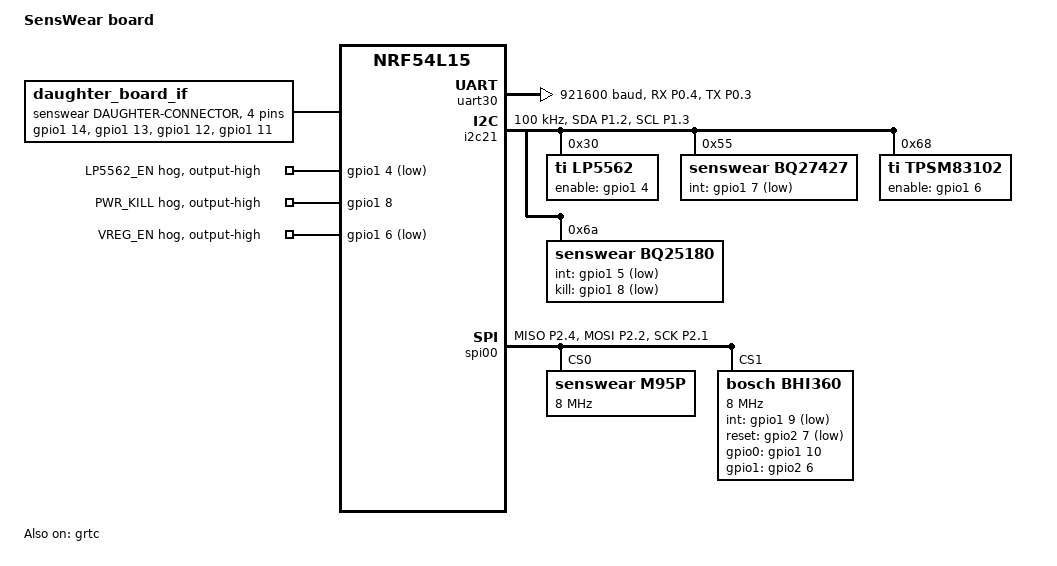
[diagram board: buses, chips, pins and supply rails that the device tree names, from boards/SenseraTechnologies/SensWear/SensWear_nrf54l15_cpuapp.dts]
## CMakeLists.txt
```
# SPDX-License-Identifier: Apache-2.0

cmake_minimum_required(VERSION 3.20.0)

list(APPEND BOARD_ROOT ${CMAKE_CURRENT_SOURCE_DIR})
list(APPEND SHIELD_ROOT ${CMAKE_CURRENT_SOURCE_DIR})
list(APPEND EXTRA_ZEPHYR_MODULES
    ${CMAKE_CURRENT_SOURCE_DIR}/config/cmake/zephyr_module)
# Board-specific devicetree bindings live under the board directory
# (boards/.../SensWear/dts/bindings), keeping them co-located with the board
# and its out-of-tree drivers.
list(APPEND DTS_ROOT ${CMAKE_CURRENT_SOURCE_DIR}/boards/SenseraTechnologies/SensWear)
# The senswear_haptic shield ships its own DRV2605 driver and binding
# (senswear,drv2605); register the shield as a DTS root so its bindings under
# dts/bindings are discovered. Only do so when the shield is actually selected.
# DTS_ROOT must be set before find_package(Zephyr), so this keys off the SHIELD
# input variable (set on the command line / preset / environment) rather than
# CONFIG_SHIELD_SENSWEAR_HAPTIC, which is not known until Kconfig has run.
if("${SHIELD}" MATCHES "senswear_haptic" OR "$ENV{SHIELD}" MATCHES "senswear_haptic")
    list(APPEND DTS_ROOT ${CMAKE_CURRENT_SOURCE_DIR}/boards/shields/senswear_haptic)
endif()

# Emit compile_commands.json for clangd. Set before find_package(Zephyr): the
# variable initialises each target's EXPORT_COMPILE_COMMANDS property at creation
# time, so it must be in effect before Zephyr defines its library targets, or
# most entries would be excluded. Sysbuild does not forward CMAKE_* variables to
# images, so enabling it here in the application's own CMake (rather than at the
# sysbuild top level) is what makes it take effect for this image.
set(CMAKE_EXPORT_COMPILE_COMMANDS ON)

find_package(Zephyr REQUIRED HINTS $ENV{ZEPHYR_BASE})
project(firmware)

# Keep a stable compile_commands.json at the project root for clangd (.clangd
# points there). Every configuration builds in its own tree -- the application
# in build/, each driver test in build/tests/<name>/ -- and CMake writes that
# tree's database to ${CMAKE_BINARY_DIR}/compile_commands.json. We symlink the
# project-root entry to whichever image just configured, so clangd always reads
# the active build's commands (e.g. a test build includes its main_test_*.c that
# the application build omits). Only the main app image does this; sibling
# sysbuild images (mcuboot, ...) leave the link alone.
if(CMAKE_EXPORT_COMPILE_COMMANDS AND (NOT SYSBUILD OR SYSBUILD_MAIN_APP))
    file(CREATE_LINK
        ${CMAKE_BINARY_DIR}/compile_commands.json
        ${CMAKE_SOURCE_DIR}/compile_commands.json
        RESULT _compile_commands_link_result
        SYMBOLIC)
    if(NOT _compile_commands_link_result STREQUAL "0")
        add_custom_target(senswear_compile_commands ALL
            COMMAND ${CMAKE_COMMAND} -E copy_if_different
                ${CMAKE_BINARY_DIR}/compile_commands.json
                ${CMAKE_SOURCE_DIR}/compile_commands.json
            COMMENT "Updating project-root compile_commands.json"
            VERBATIM)
    endif()
endif()

set(BOARD_FLASH_RUNNER pyocd)

# Each device driver is collected into the board_drivers interface library only
# when its CONFIG_SENSWEAR_<driver>_DRIVER Kconfig symbol is set (all enabled by
# default; see Kconfig). Driving driver presence purely from Kconfig means a
# single source of truth that also propagates through sysbuild / CMake presets,
# so no CMake-side option or consistency check is needed here -- the per-type
# cmakes under boards/.../drivers gate directly on the CONFIG_ symbols.

# Driver bring-up tests (tests/drivers). All off by default. The selection is
# driven through Kconfig (CONFIG_SENSWEAR_TEST_<driver>_DRIVER) rather than CMake
# options: under sysbuild only Kconfig symbols are forwarded from the top-level
# build (and thus from a CMake preset) down to this image, so a CMake option here
# would never receive the override. Enabling any individual test implies
# TEST_DRIVERS; when TEST_DRIVERS is on the selected test main() replaces the
# application main (src/main.c). The CONFIG_ symbols are available as CMake
# variables because find_package(Zephyr) above has already run Kconfig.
set(TEST_DRIVERS OFF)
set(_enabled_bringup_tests "")
foreach(_t BQ25180 BQ27427 BHI360 LP5562 M95P TPSM83102 RTC)
    if(CONFIG_SENSWEAR_TEST_${_t}_DRIVER)
        set(TEST_DRIVERS ON)
    endif()
endforeach()
# The device manager test is a driver-style test but has no _DRIVER suffix.
if(CONFIG_SENSWEAR_TEST_DEVICE_MANAGER)
    set(TEST_DRIVERS ON)
endif()

# Shield driver bring-up tests (tests/shields). Same Kconfig-driven selection as
# the board-driver tests above; these exercise drivers shipped by a shield, so
# the matching shield must also be enabled (e.g. SHIELD=senswear_haptic).
set(TEST_SHIELDS OFF)
foreach(_t DRV2605 MAX30101 MAX30208 MTCH6102)
    if(CONFIG_SENSWEAR_TEST_${_t}_DRIVER)
        set(TEST_SHIELDS ON)
    endif()
endforeach()

# Vendored third-party libraries (BHY2 sensor API, ...) collected into the
# `libs` INTERFACE library. Linked always: board_drivers' bhi360.c uses BHY2.
include(${CMAKE_CURRENT_SOURCE_DIR}/libs/libs.cmake)

# Board-level driver subsystem: aggregates the shared `common_drivers`, the
# base-board `board_drivers`, and the selected `shield_drivers` INTERFACE
# libraries (see boards/drivers.cmake).
include(${CMAKE_CURRENT_SOURCE_DIR}/boards/drivers.cmake)

# Count the enabled SensWear shields (one per daughter board). The CONFIG_
# symbols are readable here as CMake variables because find_package(Zephyr) has
# already run Kconfig. The total is handed to the application as the
# SENSWEAR_NUM_SHIELDS compile definition.
set(SENSWEAR_SHIELDS SENSWEAR_HAPTIC SENSWEAR_PPG SENSWEAR_TEMPERATURE SENSWEAR_TOUCH)
set(_shield_count 0)
foreach(_s ${SENSWEAR_SHIELDS})
    if(CONFIG_SHIELD_${_s})
        math(EXPR _shield_count "${_shield_count} + 1")
    endif()
endforeach()

# Count, straight from devicetree, how many enabled devices depend on the shared
# daughter-connector regulator (TPSM83102 / VDD_DAUGHTER). Each daughter device
# declares `vin-supply = <&tpsm83102>` in its shield overlay. Zephyr's CMake
# devicetree API cannot enumerate a node's children, so instead of walking the
# daughter I2C bus we check each known daughter device by its node label and tally
# the okay ones whose vin-supply resolves to the regulator node. The connector
# exposes a single regulated rail, so more than one is a hard error. The dt_*
# helpers read the parsed devicetree, available now that find_package(Zephyr) has
# run. dt_prop() leaves its output variable empty when the property is absent.
set(SENSWEAR_DAUGHTER_DEVICES drv2605 max30101 max30208 mtch6102)
dt_nodelabel(_reg_path NODELABEL tpsm83102)
set(_regulator_dep_count 0)
if(_reg_path)
    foreach(_label ${SENSWEAR_DAUGHTER_DEVICES})
        dt_nodelabel(_dev_path NODELABEL ${_label})
        if(NOT _dev_path)
            continue()
        endif()
        dt_node_has_status(_ok PATH "${_dev_path}" STATUS okay)
        if(NOT _ok)
            continue()
        endif()
        dt_prop(_supply PATH "${_dev_path}" PROPERTY "vin-supply")
        if(_supply STREQUAL "${_reg_path}")
            math(EXPR _regulator_dep_count "${_regulator_dep_count} + 1")
        endif()
    endforeach()
endif()

if(_regulator_dep_count GREATER 1)
    message(FATAL_ERROR
        "${_regulator_dep_count} enabled devices depend on the shared "
        "daughter-connector regulator (TPSM83102 / VDD_DAUGHTER), but the "
        "connector provides a single regulated rail. Enable at most one "
        "regulator-dependent daughter shield.")
endif()

# At most one regulator-dependent daughter device: publish the active shield
# count to the application.
target_compile_definitions(app PRIVATE SENSWEAR_NUM_SHIELDS=${_shield_count})

target_link_libraries(app PRIVATE common_drivers board_drivers shield_drivers libs)

if(TEST_DRIVERS AND TEST_SHIELDS)
    message(FATAL_ERROR
        "A board-driver test and a shield test are both enabled; each defines "
        "main(). Enable exactly one SENSWEAR_TEST_<driver>_DRIVER.")
endif()

if(TEST_DRIVERS OR TEST_SHIELDS)
    # A bring-up test replaces the application: the test provides main() and links
    # against the board/shield drivers. The application sources
    # (src/app.cmake -> app_src) are not built at all.
    if(TEST_DRIVERS)
        include(${CMAKE_CURRENT_SOURCE_DIR}/tests/drivers/tests.cmake)
        include(${CMAKE_CURRENT_SOURCE_DIR}/tests/device_manager/tests.cmake)
    endif()
    if(TEST_SHIELDS)
        include(${CMAKE_CURRENT_SOURCE_DIR}/tests/shields/tests.cmake)
    endif()
else()
    # Normal build: application sources / includes (app_src INTERFACE library).
    # The Bluetooth GATT services (ble_services) are managed by app.cmake.
    include(${CMAKE_CURRENT_SOURCE_DIR}/src/app.cmake)
    target_link_libraries(app PRIVATE app_src)
endif()

if(TEST_DRIVERS)
    list(LENGTH _enabled_bringup_tests _enabled_driver_test_count)
    if(_enabled_driver_test_count EQUAL 0)
        message(FATAL_ERROR
            "TEST_DRIVERS is ON but no SENSWEAR_TEST_<driver>_DRIVER is enabled. "
            "Enable exactly one, e.g. CONFIG_SENSWEAR_TEST_M95P_DRIVER=y.")
    elseif(_enabled_driver_test_count GREATER 1)
        message(FATAL_ERROR
            "Multiple driver tests enabled (${_enabled_bringup_tests}); each defines "
            "main(). Enable exactly one SENSWEAR_TEST_<driver>_DRIVER.")
    endif()
endif()
```

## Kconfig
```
menu "SensWear firmware"

choice SENSWEAR_DAUGHTER_BOARD
	prompt "SensWear daughter board"
	default SENSWEAR_DAUGHTER_TOUCH if SHIELD_SENSWEAR_TOUCH
	default SENSWEAR_DAUGHTER_PPG if SHIELD_SENSWEAR_PPG
	default SENSWEAR_DAUGHTER_TEMPERATURE if SHIELD_SENSWEAR_TEMPERATURE
	default SENSWEAR_DAUGHTER_HAPTIC if SHIELD_SENSWEAR_HAPTIC
	default SENSWEAR_DAUGHTER_NONE

config SENSWEAR_DAUGHTER_NONE
	bool "No daughter board"

config SENSWEAR_DAUGHTER_TOUCH
	bool "Touch daughter board"

config SENSWEAR_DAUGHTER_PPG
	bool "PPG daughter board"

config SENSWEAR_DAUGHTER_TEMPERATURE
	bool "Temperature daughter board"

config SENSWEAR_DAUGHTER_HAPTIC
	bool "Haptic daughter board"

endchoice

choice SENSWEAR_TOUCH_ENCLOSURE
	prompt "Touch electrode enclosure"
	depends on SHIELD_SENSWEAR_TOUCH
	default SENSWEAR_TOUCH_RING_ENCLOSURE
	help
	  Select the build-time touch thresholds for the assembled touch board.
	  The controller and host slider decoder use the same selected thresholds.
	  Acquisition timing, filtering and gesture settings are unchanged.

config SENSWEAR_TOUCH_RING_ENCLOSURE
	bool "With ring enclosure (X=16, Y=6)"
	help
	  Use the more sensitive thresholds measured with the 1-2 mm resin ring.

config SENSWEAR_TOUCH_NO_ENCLOSURE
	bool "Without enclosure (X=55, Y=40)"
	help
	  Use the original bare-board thresholds for directly exposed electrodes.

endchoice

config SENSWEAR_DAUGHTER_PRESENT
	bool
	default y if SENSWEAR_DAUGHTER_TOUCH
	default y if SENSWEAR_DAUGHTER_PPG
	default y if SENSWEAR_DAUGHTER_TEMPERATURE
	default y if SENSWEAR_DAUGHTER_HAPTIC

config SENSWEAR_SYS_I2C
	bool "SensWear shared system I2C bus wrapper"
	depends on I2C
	depends on DT_HAS_SENSWEAR_SYS_I2C_ENABLED
	default y
	help
	  Ownership-locking wrapper driver over a Nordic I2C controller. Devices
	  depend on it via a `bus = <&sys_i2c>` phandle and use the sys_i2c_* API.

config SENSWEAR_SYS_I2C_INIT_PRIORITY
	int "sys_i2c init priority"
	depends on SENSWEAR_SYS_I2C
	default 60
	help
	  POST_KERNEL init priority for the sys_i2c wrapper. Must be greater than
	  I2C_INIT_PRIORITY so the wrapped controller is initialised first.

config SENSWEAR_SYS_SPI
	bool "SensWear shared system SPI bus wrapper"
	depends on SPI
	depends on DT_HAS_SENSWEAR_SYS_SPI_ENABLED
	default y
	help
	  Ownership-locking wrapper driver over a Nordic SPI controller. Devices
	  depend on it via a `bus = <&sys_spi>` phandle and use the sys_spi_* API.

config SENSWEAR_SYS_SPI_INIT_PRIORITY
	int "sys_spi init priority"
	depends on SENSWEAR_SYS_SPI
	default 80
	help
	  POST_KERNEL init priority for the sys_spi wrapper. Must be greater than
	  SPI_INIT_PRIORITY so the wrapped controller is initialised first.

config SENSWEAR_M95P_DISK
	bool "Expose the M95P EEPROM as a disk-access block device"
	depends on SENSWEAR_M95P_DRIVER
	depends on DISK_ACCESS
	help
	  Registers the M95P EEPROM with the Zephyr disk-access subsystem under
	  the name "eeprom" so a filesystem (LittleFS over a block device) can
	  be mounted on it. One 512-byte logical sector maps to one M95P page.

config SENSWEAR_M95P_DISK_AUTOMOUNT
	bool "Mount the M95P LittleFS filesystem at boot"
	depends on SENSWEAR_M95P_DISK
	depends on FILE_SYSTEM_LITTLEFS && FS_LITTLEFS_BLK_DEV
	help
	  Automatically mount the LittleFS filesystem on the M95P during system
	  init. When disabled, call m95p_fs_mount() explicitly from application
	  code.

# Board driver presence. Each symbol is the single source of truth for whether
# its driver is compiled: the per-type cmakes under boards/.../drivers gate their
# sources directly on these CONFIG_ symbols.

config SENSWEAR_BQ25180_DRIVER
	bool "BQ25180 charger driver"
	depends on SENSWEAR_SYS_I2C
	default y
	select SENSWEAR_DEVICE_DRIVER_EVENTS
	help
	  Build the BQ25180 charger / power-path controller driver. The driver
	  posts interrupt activity through the device driver event manager, so it
	  is enabled automatically.

config SENSWEAR_BQ27427_DRIVER
	bool "BQ27427 fuel-gauge driver"
	depends on SENSWEAR_SYS_I2C
	default y
	select SENSWEAR_DEVICE_DRIVER_EVENTS
	help
	  Build the BQ27427 fuel-gauge driver. The driver posts interrupt activity
	  through the device driver event manager, so it is enabled automatically.

config SENSWEAR_BHI360_DRIVER
	bool "BHI360 IMU driver"
	depends on SPI
	default y
	help
	  Build the BHI360 IMU driver.

config SENSWEAR_LP5562_DRIVER
	bool "LP5562 LED controller driver"
	depends on SENSWEAR_SYS_I2C
	default y
	help
	  Build the LP5562 LED controller driver.

config SENSWEAR_M95P_DRIVER
	bool "M95P EEPROM driver"
	depends on SPI
	default y
	help
	  Build the M95P serial-page EEPROM driver.

config SENSWEAR_TPSM83102_DRIVER
	bool "TPSM83102 regulator driver"
	depends on SENSWEAR_SYS_I2C
	default y
	help
	  Build the TPSM83102 buck regulator driver.

config SENSWEAR_RTC_DRIVER
	bool "Software real-time clock"
	default y
	select SENSWEAR_DEVICE_DRIVER_EVENTS
	help
	  Build the SensWear software RTC. The nRF54L15 has no battery-backed
	  calendar RTC, so this driver maintains wall-clock time on the GRTC-backed
	  system clock (the SYS_CLOCK_REALTIME / POSIX time() base), persists it to
	  Settings/NVS, and exposes minute/hour/day and one-shot alarms through the
	  device-event manager.

if SENSWEAR_RTC_DRIVER

config SENSWEAR_RTC_AUTO_INIT
	bool "Seed the wall clock at system startup"
	default y
	help
	  Run rtc_init() from a SYS_INIT hook at APPLICATION priority so the wall
	  clock (and POSIX time()) is restored from Settings before application
	  code runs. Disable to call rtc_init() manually.

config SENSWEAR_RTC_INIT_PRIORITY
	int "rtc auto-init priority"
	depends on SENSWEAR_RTC_AUTO_INIT
	default 90
	help
	  APPLICATION-phase SYS_INIT priority for the RTC. Must run after the flash
	  and Settings backends are initialised.

endif # SENSWEAR_RTC_DRIVER

config SENSWEAR_DAUGHTER_IF_DRIVER
	bool "Daughter-board connector GPIO arbiter"
	depends on GPIO
	default y
	help
	  Build the daughter-board interface driver. It aggregates the connector's
	  shared GPIO lines and arbitrates, at runtime, which consumer driver may
	  control each line so two drivers cannot fight over the same pin.

config SENSWEAR_DEVICE_DRIVER_EVENTS
	bool "SensWear device driver event manager"
	help
	  Enable the centralized device driver event manager. This provides a
	  shared message queue for device interrupt handlers to post events that
	  are consumed by a single event-processing thread, keeping device handling
	  in one place and on one stack.

if SENSWEAR_DEVICE_DRIVER_EVENTS

config SENSWEAR_DEVICE_DRIVER_EVENTS_MAX
	int "Maximum number of queued device driver events"
	default 16
	range 1 128
	help
	  Maximum number of events that can be queued in the device driver event
	  manager at any given time. Each queued event consumes memory proportional
	  to the size of struct device_driver_event_t (currently 16 bytes).

config SENSWEAR_DEVICE_DRIVER_EVENTS_AUTO_INIT
	bool "Automatically initialize device driver events at system startup"
	default y
	help
	  If enabled, the device driver event manager will be automatically
	  initialized at POST_KERNEL initialization priority with
	  CONFIG_SENSWEAR_DEVICE_DRIVER_EVENTS_MAX events. If disabled, the
	  application must call device_driver_event_init() manually before posting
	  or waiting for events.

endif # SENSWEAR_DEVICE_DRIVER_EVENTS

config SENSWEAR_DEVICE_MANAGER
	bool "SensWear device manager (zbus message streams)"
	select ZBUS
	select ZBUS_RUNTIME_OBSERVERS
	select SENSWEAR_DEVICE_DRIVER_EVENTS
	help
	  Enable the device manager: a single publisher that drains the shared
	  device event queue, drives each device's interrupt handler, and publishes
	  decoded per-message-type streams over zbus for application actors (the BLE
	  manager, storage, app logic, ...) to subscribe to. Leave this disabled for
	  isolated device or shield bring-up tests, which replace the application and
	  do not need the manager.

# Driver bring-up tests (tests/drivers). All off by default. Enabling exactly
# one replaces the application main() with the selected test main(); see
# tests/drivers/tests.cmake. These are Kconfig symbols (not CMake options) so
# the selection propagates from the sysbuild top-level build / a CMake preset
# down into this image.

config SENSWEAR_TEST_BQ25180_DRIVER
	bool "Build the BQ25180 charger bring-up test"
	help
	  Replace the application with the BQ25180 charger driver bring-up test.

config SENSWEAR_TEST_BQ27427_DRIVER
	bool "Build the BQ27427 fuel-gauge bring-up test"
	help
	  Replace the application with the BQ27427 fuel-gauge driver bring-up test.

config SENSWEAR_TEST_BHI360_DRIVER
	bool "Build the BHI360 IMU bring-up test"
	help
	  Replace the application with the BHI360 IMU driver bring-up test.

config SENSWEAR_TEST_LP5562_DRIVER
	bool "Build the LP5562 LED controller bring-up test"
	help
	  Replace the application with the LP5562 LED controller bring-up test.

config SENSWEAR_TEST_M95P_DRIVER
	bool "Build the M95P EEPROM bring-up test"
	help
	  Replace the application with the M95P EEPROM driver bring-up test.

config SENSWEAR_TEST_RTC_DRIVER
	bool "Build the software RTC bring-up test"
	depends on SENSWEAR_RTC_DRIVER
	help
	  Replace the application with the software RTC driver bring-up test
	  (tests/drivers/main_test_rtc.c). Sets a known time, reads it back through
	  both the rtc API and POSIX time(), and exercises the minute and one-shot
	  alarms.

config SENSWEAR_TEST_TPSM83102_DRIVER
	bool "Build the TPSM83102 regulator bring-up test"
	help
	  Replace the application with the TPSM83102 regulator driver bring-up test.

config SENSWEAR_TEST_DEVICE_MANAGER
	bool "Build the device manager test"
	select SENSWEAR_DEVICE_MANAGER
	help
	  Replace the application with the device manager test
	  (tests/device_manager/main_test_device_manager.c). Enables the device manager and
	  its zbus streams, subscribes to every stream, and drives the fuel gauge (and
	  the haptic motor when the senswear_haptic shield is present) to exercise the
	  publish pipeline.

config SENSWEAR_TEST_DRV2605_DRIVER
	bool "Build the DRV2605 haptics bring-up test"
	depends on SENSWEAR_DRV2605_DRIVER
	help
	  Replace the application with the DRV2605 haptics driver bring-up test
	  (tests/shields/main_test_drv2605.c). Requires the senswear_haptic shield
	  (build with SHIELD=senswear_haptic) so the driver and its devicetree node
	  are present.

config SENSWEAR_TEST_MAX30101_DRIVER
	bool "Build the MAX30101 PPG bring-up test"
	depends on SHIELD_SENSWEAR_PPG
	help
	  Replace the application with the MAX30101 PPG driver bring-up test
	  (tests/shields/main_test_max30101.c). Requires the senswear_ppg shield
	  (build with SHIELD=senswear_ppg) so the driver and its devicetree node
	  are present.

config SENSWEAR_TEST_MAX30208_DRIVER
	bool "Build the MAX30208 temperature bring-up test"
	depends on SHIELD_SENSWEAR_TEMPERATURE
	help
	  Replace the application with the MAX30208 temperature driver bring-up test
	  (tests/shields/main_test_max30208.c). Requires the senswear_temperature
	  shield (build with SHIELD=senswear_temperature) so the driver and its
	  devicetree node are present.

config SENSWEAR_TEST_MTCH6102_DRIVER
	bool "Build the MTCH6102 touch bring-up test"
	depends on SHIELD_SENSWEAR_TOUCH
	help
	  Replace the application with the MTCH6102 touch driver bring-up test
	  (tests/shields/main_test_mtch6102.c). Requires the senswear_touch shield
	  (build with SHIELD=senswear_touch) so the driver and its devicetree node
	  are present.

endmenu

source "Kconfig.zephyr"
```

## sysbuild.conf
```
# Disable the (deprecated) Nordic Partition Manager. With it off, sysbuild uses
# the DTS `fixed-partitions` layout defined in the board devicetree as the
# authoritative flash map. See boards/.../SensWear_nrf54l15_cpuapp.dts.
SB_CONFIG_PARTITION_MANAGER=n
```

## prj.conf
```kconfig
# Button and LED library
CONFIG_DK_LIBRARY=n

CONFIG_LED=y
CONFIG_GPIO=y
CONFIG_GPIO_HOGS=y
CONFIG_I2C=y
CONFIG_SENSOR=y

CONFIG_SPI=y

#LOGGING
CONFIG_LOG=y
CONFIG_LOG_DEFAULT_LEVEL=3
CONFIG_DEBUG=y
CONFIG_CBPRINTF_FP_SUPPORT=y
CONFIG_SERIAL=y
CONFIG_CONSOLE=y
CONFIG_UART_CONSOLE=y
CONFIG_LOG_MODE_IMMEDIATE=y
CONFIG_LOG_BACKEND_UART=y
CONFIG_UART_ASYNC_API=y
# CONFIG_LOG_BACKEND_UART_ASYNC=n
# CONFIG_LOG_BACKEND_UART_BUFFER_SIZE=256
# CONFIG_LOG_BACKEND_UART_AUTOSTART=y
CONFIG_PRINTK=y
CONFIG_USE_SEGGER_RTT=n
CONFIG_LOG_BACKEND_RTT=n
CONFIG_SHELL=y
CONFIG_I2C_SHELL=y

# Enable floating point
CONFIG_FPU=y
CONFIG_FP_HARDABI=y

# Enable pin control
CONFIG_PINCTRL=y

CONFIG_REGULATOR=y

CONFIG_GPIO_NRFX=y
# Added from the code block
# CONFIG_GPIO_NRFX=y
# CONFIG_NRFX_CLOCK=y

# Enable nrfx SPIM driver
# CONFIG_NRFX_SPIM=y

#BLE
CONFIG_BT=y
CONFIG_BT_PERIPHERAL=y
CONFIG_BT_DEVICE_NAME="Sens Wear (OOB)"
CONFIG_BT_SMP=y
CONFIG_BT_BONDABLE=y
CONFIG_BT_SETTINGS=y
CONFIG_SETTINGS=y
CONFIG_SETTINGS_NVS=y
CONFIG_FLASH=y
CONFIG_FLASH_MAP=y
CONFIG_NVS=y

# M95P EEPROM filesystem (LittleFS over a disk-access block device)
CONFIG_FILE_SYSTEM=y
CONFIG_FILE_SYSTEM_LITTLEFS=y
CONFIG_FS_LITTLEFS_BLK_DEV=y
# The block-device backend uses the M95P's 512-byte logical sector as its
# read/program granularity, so each LittleFS cache must hold at least one sector.
CONFIG_FS_LITTLEFS_CACHE_SIZE=512
CONFIG_DISK_ACCESS=y
CONFIG_SENSWEAR_M95P_DISK=y
CONFIG_SENSWEAR_M95P_DISK_AUTOMOUNT=y

# POSIX layer for file operations on the mounted filesystem. POSIX_API provides
# open()/read()/write()/close() (routed to the filesystem via ZVFS) and selects
# the ZVFS file-descriptor table they use. CONFIG_ZVFS_OPEN_MAX bounds the number
# of simultaneously open descriptors.
CONFIG_POSIX_API=y
CONFIG_ZVFS_OPEN_MAX=8

# Increase stack size for the main thread and System Workqueue
CONFIG_BT_HCI_TX_STACK_SIZE_WITH_PROMPT=y
CONFIG_THREAD_NAME=y
CONFIG_SYSTEM_WORKQUEUE_STACK_SIZE=4096
CONFIG_MAIN_STACK_SIZE=4096
CONFIG_BT_RX_STACK_SIZE=4096

CONFIG_HEAP_MEM_POOL_SIZE=4096
CONFIG_BT_L2CAP_TX_MTU=512
CONFIG_BT_BUF_ACL_RX_SIZE=516
CONFIG_BT_BUF_ACL_TX_SIZE=516

CONFIG_BT_USER_DATA_LEN_UPDATE=y
CONFIG_BT_CTLR_DATA_LENGTH_MAX=251

# Device manager: drains the shared device event queue and publishes decoded
# per-message-type streams over zbus. The Bluetooth GATT services
# (src/bluetooth/services) subscribe to these streams, so the application
# image requires it (selects ZBUS and SENSWEAR_DEVICE_DRIVER_EVENTS).
CONFIG_SENSWEAR_DEVICE_MANAGER=y

CONFIG_SENSWEAR_TOUCH_NO_ENCLOSURE=y
```

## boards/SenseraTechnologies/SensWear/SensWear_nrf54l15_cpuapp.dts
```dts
/dts-v1/;
#include <nordic/nrf54l15_cpuapp.dtsi>
#include "SensWear-pinctrl.dtsi"
/*
 * Flash partitioning is defined directly in DTS below (see &cpuapp_rram) rather
 * than pulling in the vendor MCUboot partition layout
 * (vendor/nordic/nrf54l15_cpuapp_partition.dtsi). This board runs without a
 * bootloader, so the application owns flash from 0x0. Partition Manager is also
 * disabled (sysbuild.conf) so this layout is authoritative.
 */

/ {
	model = "SensWear board";
	compatible = "SenseraTechnologies,SensWear-cpuapp";

	chosen {
		zephyr,console = &uart30;
		zephyr,shell-uart = &uart30;
		zephyr,code-partition = &slot0_partition;
		zephyr,sram = &cpuapp_sram;
		zephyr,flash = &cpuapp_rram;
		zephyr,flash-controller = &rram_controller;
	};

	/*
	 * Shared system buses: ownership-locking wrappers over the Nordic
	 * controllers. Physical devices remain children of their standard Zephyr
	 * controller nodes; board drivers route transfers through these wrappers.
	 */
	sys_i2c: sys_i2c {
		compatible = "senswear,sys-i2c";
		controller = <&i2c21>;
		status = "okay";
	};

	sys_spi: sys_spi {
		compatible = "senswear,sys-spi";
		controller = <&spi00>;
		status = "okay";
	};

	/*
	 * Software real-time clock. The nRF54L15 has no battery-backed calendar
	 * RTC, so this node owns no hardware; it gives the rtc driver a devicetree
	 * identity and a generated device id for the device-event manager. Wall-
	 * clock timekeeping runs on the GRTC-backed system clock.
	 */
	rtc0: rtc {
		compatible = "senswear,rtc";
		status = "okay";
	};

};

/*
 * Application flash layout (DTS-based, no bootloader). The 1428 KB cpuapp_rram
 * holds the application from 0x0 (slot0_partition is the chosen code-partition,
 * so the reset vector lives at 0x0 and the device boots it directly) and a
 * 36 KB storage_partition at the top for Settings/NVS. The on-device LittleFS
 * is mounted on the external M95P (a block device), so it needs no partition
 * here. Sizes are 4 KB-erase-block aligned and sum to the full 1428 KB.
 */
&cpuapp_rram {
	partitions {
		compatible = "fixed-partitions";
		#address-cells = <1>;
		#size-cells = <1>;

		slot0_partition: partition@0 {
			label = "image-0";
			reg = <0x0 DT_SIZE_K(1392)>;
		};

		storage_partition: partition@15c000 {
			label = "storage";
			reg = <0x15c000 DT_SIZE_K(36)>;
		};
	};
};

&uart30 {
	status = "okay";
	current-speed = <921600>;

	pinctrl-0 = <&uart30_default>;
	pinctrl-1 = <&uart30_sleep>;
	pinctrl-names = "default", "sleep";
};

&grtc {
	owned-channels = <0 1 2 3 4 5 6 7 8 9 10 11>;
	/*
	 * Channels 7-11 reserved for Zero Latency IRQs, 3-4 for FLPR.
	 */
	child-owned-channels = <3 4 7 8 9 10 11>;
	status = "okay";
};

&cpuapp_sram {
	status = "okay";
};

&clock {
	status = "okay";
};

&gpiote20 {
	status = "okay";
};

&gpiote30 {
	status = "okay";
};

&gpio0 {
	status = "okay";
};


&pinctrl {
	uart30_default: uart30_default {
		group1 {
			psels = <NRF_PSEL(UART_RX, 0, 4)>; /* P0.04 */
		};
		group2 {
			psels = <NRF_PSEL(UART_TX, 0, 3)>; /* P0.03 */
		};
	};

	uart30_sleep: uart30_sleep {
		group1 {
			psels = <NRF_PSEL(UART_TX, 0, 3)>,
				<NRF_PSEL(UART_RX, 0, 4)>;
		};
	};

	i2c21_default: i2c21_default {
		group1 {
			psels = <NRF_PSEL(TWIM_SDA, 1, 2)>,
				<NRF_PSEL(TWIM_SCL, 1, 3)>;
			bias-pull-up;
		};
	};

	i2c21_sleep: i2c21_sleep {
		group1 {
			psels = <NRF_PSEL(TWIM_SDA, 1, 2)>,
			<NRF_PSEL(TWIM_SCL, 1, 3)>;
			low-power-enable;
		};
	};

	spi00_default: spi00_default {
		group1 {
			psels = <NRF_PSEL(SPIM_MISO, 2, 4)>,
				<NRF_PSEL(SPIM_MOSI, 2, 2)>,
				<NRF_PSEL(SPIM_SCK, 2, 1)>;
		};
	};

	spi00_sleep: spi00_sleep {
		group1 {
			psels = <NRF_PSEL(SPIM_MISO, 2, 4)>,
				<NRF_PSEL(SPIM_MOSI, 2, 2)>,
				<NRF_PSEL(SPIM_SCK, 2, 1)>;
			low-power-enable;
		};
	};
};

/ {
	/*
	 * Daughter-board connector GPIO mapper.
	 *
	 * This is intentionally not an I2C child node. The daughter boards use
	 * the system I2C bus through their own shield nodes, while this connector
	 * node only maps and names the shared SENSOR_GPIO_0..3 lines.
	 */
	daughter_board_if: daughter-board {
		compatible = "senswear,daughter-connector";
		#gpio-cells = <2>;
		gpio-map-mask = <0xffffffff 0xffffffc0>;
		gpio-map-pass-thru = <0 0x3f>;
		gpio-map = <0 0 &gpio1 14 0>,  /* SENSOR_GPIO_0 (P1.14) */
			   <1 0 &gpio1 13 0>,  /* SENSOR_GPIO_1 (P1.13) */
			   <2 0 &gpio1 12 0>,  /* SENSOR_GPIO_2 (P1.12) */
			   <3 0 &gpio1 11 0>;  /* SENSOR_GPIO_3 (P1.11) */
		gpio-line-names = "SENSOR_GPIO_0", "SENSOR_GPIO_1",
				  "SENSOR_GPIO_2", "SENSOR_GPIO_3";
		/*
		 * The connector's GPIO lines, in line order, aggregated by the
		 * daughter_if driver which arbitrates their ownership. Resolved
		 * through this node's own gpio-map to the physical controller.
		 */
		sensor-gpios = <&daughter_board_if 0 GPIO_ACTIVE_HIGH>,
			       <&daughter_board_if 1 GPIO_ACTIVE_HIGH>,
			       <&daughter_board_if 2 GPIO_ACTIVE_HIGH>,
			       <&daughter_board_if 3 GPIO_ACTIVE_HIGH>;
		status = "okay";
	};
};

sys_i2c_peripheral: &i2c21 {
	status = "okay";
	compatible = "nordic,nrf-twim";
	clock-frequency = <I2C_BITRATE_STANDARD>;
	pinctrl-0 = <&i2c21_default>;
	pinctrl-1 = <&i2c21_sleep>;
	pinctrl-names = "default", "sleep";

	/*
	 * LP5562 RGB LED driver.
	 */
	lp5562: lp5562@30 {
		compatible = "ti,lp5562";
		reg = <0x30>;
		enable-gpios = <&gpio1 4 GPIO_ACTIVE_HIGH>; /* P1.04 LED_EN */
		status = "okay";
	};

	/*
	 * BQ27427 fuel gauge.
	 */
	bq27427: fuel-gauge@55 {
		compatible = "senswear,bq27427";
		reg = <0x55>;
		int-gpios = <&gpio1 7 GPIO_ACTIVE_LOW>; /* P1.07 GAUGE_IRQ */
		status = "okay";
	};

	/*
	 * TPSM83102 buck regulator generating VDD_DAUGHTER.
	 */
	tpsm83102: regulator@68 {
		compatible = "ti,tpsm83102";
		reg = <0x68>;
		enable-gpios = <&gpio1 6 GPIO_ACTIVE_HIGH>; /* P1.06 V_REG_EN */
		regulator-name = "VDD_DAUGHTER";
		regulator-min-microvolt = <1000000>;
		regulator-max-microvolt = <5500000>;
		status = "okay";
	};

	/*
	 * BQ25180 charger and power-path controller.
	 */
	bq25180: charger@6a {
		compatible = "senswear,bq25180";
		reg = <0x6a>;
		int-gpios = <&gpio1 5 GPIO_ACTIVE_LOW>;   /* P1.05 CHG_IRQ */
		/* P1.08 PWR_KILL shares the BQ25180 TS/MR pin, which has no NTC and is
		 * pulled to V_BAT by R4 (100k). Drive it open-drain so the host only ever
		 * pulls it low to request shutdown and otherwise releases it (high via R4);
		 * a push-pull high would source into the TS/MR node and corrupt the TS
		 * reading / trigger spurious MR-wake events. */
		kill-gpios = <&gpio1 8 (GPIO_ACTIVE_LOW | GPIO_OPEN_DRAIN)>; /* P1.08 PWR_KILL */
		status = "okay";
	};
};

&gpio1 {
	status = "okay";

	/*
	 * Keep LED_EN (P1.04) low from earliest boot.
	 */
	lp5562_en_hog: lp5562_en_hog {
		gpio-hog;
		gpios = <4 GPIO_ACTIVE_LOW>;  /* P1.04 */
		output-high;
		line-name = "LP5562_EN";
	};

	/*
	 * PWR_KILL (P1.08) must be released HIGH from the earliest boot so power is
	 * held on before any driver runs. It shares the BQ25180 TS/MR pin (no NTC,
	 * pulled to V_BAT by R4), so it is driven open-drain: output-high releases the
	 * pin and lets R4 hold it high, rather than actively sourcing into the TS/MR
	 * node (which corrupts the TS reading and triggers spurious MR-wake events).
	 * The hog guarantees this power-on default; the bq25180 node also exposes the
	 * line as kill-gpios so the driver can take it over at runtime (open-drain,
	 * released high) and drop this hog once the driver owns it.
	 */
	bq25180_pwr_kill_hog: bq25180_pwr_kill_hog {
		gpio-hog;
		gpios = <8 (GPIO_ACTIVE_HIGH | GPIO_OPEN_DRAIN)>;
		output-high;
		line-name = "PWR_KILL";
	};

	/*
	 * Keep VREG_EN (P1.06) low from earliest boot.
	 */
	tpsm83102_en_hog: tpsm83102_en_hog {
		gpio-hog;
		gpios = <6 GPIO_ACTIVE_LOW>;
		output-high;
		line-name = "VREG_EN";
	};
};

&gpio2 {
	status = "okay";
};

&uicr {
	nfct-pins-as-gpios;
};

sys_spi_peripheral: &spi00 {
	status = "okay";
	pinctrl-0 = <&spi00_default>;
	pinctrl-1 = <&spi00_sleep>;
	pinctrl-names = "default", "sleep";
	/*
	 * Chip-selects are intentionally not declared here. Each peripheral owns
	 * and drives its own CS GPIO (see its `cs-gpios` property), so the SPI
	 * controller performs no automatic chip-select management.
	 */

	/*
	 * M95P external non-volatile memory.
	 */
	m95p: eeprom@0 {
		compatible = "senswear,m95p";
		reg = <0>;
		spi-max-frequency = <8000000>;
		cs-gpios = <&gpio2 3 GPIO_ACTIVE_LOW>; /* P2.03 M95P_CS# */
		size = <0x400000>;
		address-width = <24>;
		pagesize = <512>;
		timeout = <100>;
		status = "okay";
	};

	/*
	 * BHI360 IMU hub.
	 */
	bhi360: bhi360@1 {
		compatible = "bosch,bhi360";
		reg = <1>;
		spi-max-frequency = <8000000>;
		cs-gpios = <&gpio2 5 GPIO_ACTIVE_LOW>;      /* P2.05 BHI360_CS# */
		int-gpios = <&gpio1 9 GPIO_ACTIVE_LOW>;     /* P1.09 MPU_IRQ# */
		reset-gpios = <&gpio2 7 GPIO_ACTIVE_LOW>;   /* P2.07 MPU_RESET */
		gpio0-gpios = <&gpio1 10 GPIO_ACTIVE_HIGH>; /* P1.10 MPU_GPIO0 */
		gpio1-gpios = <&gpio2 6 GPIO_ACTIVE_HIGH>;  /* P2.06 MPU_GPIO1 */
		status = "okay";
	};
};
```

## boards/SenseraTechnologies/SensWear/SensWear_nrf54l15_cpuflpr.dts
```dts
/dts-v1/;
#include <nordic/nrf54l15_cpuflpr.dtsi>
#include "SensWear-pinctrl.dtsi"

/ {
	model = "SensWear board";
	compatible = "SenseraTechnologies,SensWear-cpuflpr";

	chosen {
		zephyr,code-partition = &cpuflpr_code_partition;
		zephyr,flash = &cpuflpr_rram;
		zephyr,sram = &cpuflpr_sram;
	};
};

&cpuflpr_sram {
	status = "okay";
	reg = <0x20028000 DT_SIZE_K(96)>;
	ranges = <0x0 0x20028000 DT_SIZE_K(96)>;
};

&cpuflpr_rram {
	partitions {
		compatible = "fixed-partitions";
		#address-cells = <1>;
		#size-cells = <1>;

		cpuflpr_code_partition: partition@0 {
			label = "image-0";
			reg = <0x0 DT_SIZE_K(96)>;
		};
	};
};

&grtc {
	owned-channels = <3 4>;
	status = "okay";
};
```

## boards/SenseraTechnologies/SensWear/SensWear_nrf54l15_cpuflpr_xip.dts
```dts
#include "SensWear_nrf54l15_cpuflpr.dts"

/ {
	compatible = "SenseraTechnologies,SensWear-cpuflpr-xip";
};

&cpuflpr_sram {
	reg = <0x2002f000 DT_SIZE_K(68)>;
	ranges = <0x0 0x2002f000 DT_SIZE_K(68)>;
};
```

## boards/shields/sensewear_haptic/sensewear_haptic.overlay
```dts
/*
 * SPDX-License-Identifier: Apache-2.0
 */

/ {
	aliases {
		sensewear-daughter = &drv2605;
		sensewear-haptic = &drv2605;
	};
};

&sys_i2c_peripheral {
	drv2605: drv2605@5a {
		compatible = "sensewear,drv2605";
		reg = <0x5a>;
		/* Enable uses SENSOR_GPIO_0 / P1.14 claimed through daughter_if. */
		status = "okay";
		actuator-mode = "LRA";
		loop-gain = "HIGH";
		feedback-brake-factor = "2X";
		label = "drv2605";
		/* NFP-WS0625 is rated at 3.0 V DC. */
		// vib-rated-mv = <3000>;
		// vib-overdrive-mv = <3000>;
		/* Powered from the shared daughter-connector rail (VDD_DAUGHTER). */
		vin-supply = <&tpsm83102>;
	};
};
```

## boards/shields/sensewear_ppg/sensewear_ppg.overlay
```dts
/*
 * SPDX-License-Identifier: Apache-2.0
 */

/ {
	aliases {
		sensewear-daughter = &max30101;
		sensewear-ppg = &max30101;
	};
};

&sys_i2c_peripheral {
	max30101: max30101@57 {
		compatible = "sensewear,daughter-i2c-device", "i2c-device";
		status = "okay";
		reg = <0x57>;
		label = "MAX30101";
		/* Powered from the shared daughter-connector rail (VDD_DAUGHTER). */
		vin-supply = <&tpsm83102>;
	};
};
```

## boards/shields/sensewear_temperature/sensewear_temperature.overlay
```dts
/*
 * SPDX-License-Identifier: Apache-2.0
 */

/ {
	aliases {
		sensewear-daughter = &max30208;
		sensewear-temperature = &max30208;
	};
};

&sys_i2c_peripheral {
	max30208: max30208@50 {
		/*
		 * Plain i2c-device: the temperature driver neither owns the
		 * daughter rail (VDD_DAUGHTER, managed centrally by the
		 * daughter-board manager) nor a connector interrupt line, so it
		 * carries no vin-supply / gpio dependency in devicetree.
		 */
		compatible = "i2c-device";
		status = "okay";
		reg = <0x50>;
		label = "MAX30208";
	};
};
```

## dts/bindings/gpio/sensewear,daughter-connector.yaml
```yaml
# Copyright (c) 2026
# SPDX-License-Identifier: Apache-2.0

description: SenseWear shared daughter board connector

compatible: "sensewear,daughter-connector"

include: [gpio-nexus.yaml, base.yaml]
```

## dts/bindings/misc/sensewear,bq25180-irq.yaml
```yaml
description: SenseWear BQ25180 interrupt GPIO

compatible: "sensewear,bq25180-irq"

properties:
  interrupt-gpios:
    type: phandle-array
    required: true
```

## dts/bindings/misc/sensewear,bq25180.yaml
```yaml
description: SenseWear BQ25180 charger

compatible: "sensewear,bq25180"

include:
  - name: i2c-device.yaml

properties:
  reg:
    required: true

  interrupt-gpios:
    type: phandle-array
    required: true
    description: Active-low charger interrupt GPIO.
```

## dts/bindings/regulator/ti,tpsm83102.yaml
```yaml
# Copyright (c) 2026
# SPDX-License-Identifier: Apache-2.0

description: |
  Texas Instruments TPSM83102/TPSM83103 buck-boost power module with I2C-programmable output voltage.

  Registers used:
    CONTROL1 (0x02): CONVERTER_EN bit0 enables converter (AND'ed with EN pin)
    VOUT     (0x03): output voltage code
    CONTROL2 (0x05): FPWM and ramp/discharge settings

  Output voltage code (VOUT register):
    Vout = 1.000 + code * 0.025 V for 0x00..0xB4
    Vout = 5.5 V for 0xB5..0xFF

compatible: "ti,tpsm83102"

include:
  - name: i2c-device.yaml
  - name: regulator.yaml

properties:
  reg:
    required: true

  enable-gpios:
    type: phandle-array
    required: false
    description: Optional GPIO connected to the module EN pin.

  ti,fpwm:
    type: boolean
    description: |
      Force PWM operation (CONTROL2.FPWM bit7). If not set, default stays as device reset.

  ti,fast-ramp-enable:
    type: boolean
    description: |
      Enable fast startup compared to VOUT ramp (CONTROL2.FAST_RAMP_EN bit6).

  ti,discharge-vout:
    type: string
    required: false
    enum:
      - "disable"
      - "slow"
      - "medium"
      - "fast"
    description: |
      Output discharge strength (CONTROL2.EN_DISCH_VOUT[5:4]):
        disable=00, slow=01 (34mA), medium=10 (67mA), fast=11 (100mA)

  ti,cl-ramp-min-high:
    type: boolean
    description: |
      Minimum current limit during soft-start ramp (CONTROL2.CL_RAMP_MIN bit3).
      false = Low (500mA), true = High (2x Low)

  ti,td-ramp:
    type: int
    required: false
    description: |
      Soft-start ramp time selector (CONTROL2.TD_RAMP[2:0]).
      Valid values 0..7 map to:
        0:0.256ms 1:0.512ms 2:1.024ms 3:1.920ms
        4:3.584ms 5:7.552ms 6:9.600ms 7:24.320ms
    enum: [0, 1, 2, 3, 4, 5, 6, 7]

  ti,enable-scp:
    type: boolean
    description: |
      Enable short circuit hiccup protection (CONTROL1.EN_SCP bit2).

  ti,fast-dvs:
    type: boolean
    description: |
      Enable fast DVS (CONTROL1.EN_FAST_DVS bit3).

  ti,strict-reset-defaults:
    type: boolean
    description: |
      Require CONTROL1, VOUT, and CONTROL2 to match datasheet reset defaults
      during probe. This is intended for lab diagnostics only; production
      firmware should allow existing programmed register state.
```

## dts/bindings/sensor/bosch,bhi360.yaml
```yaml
description: Bosch BHI360 IMU (SPI)

compatible: "bosch,bhi360"

include:
  - name: spi-device.yaml

properties:
  reg:
    required: true

  spi-max-frequency:
    required: true

  int-gpios:
    type: phandle-array
    required: false

  reset-gpios:
    type: phandle-array
    required: false
```

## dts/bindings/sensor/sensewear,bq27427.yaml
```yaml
description: SenseWear BQ27427 fuel gauge

compatible: "sensewear,bq27427"

include:
  - name: i2c-device.yaml

properties:
  reg:
    required: true

  int-gpios:
    type: phandle-array
    required: true
    description: Active-low gauge interrupt GPIO.
```

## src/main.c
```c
/*
 * Copyright (c) 2012-2014 Wind River Systems, Inc.
 *
 * SPDX-License-Identifier: Apache-2.0
 */

#include <stdio.h>
#include <zephyr/kernel.h>
#include <zephyr/drivers/gpio.h>
#include <zephyr/logging/log.h>
#include <zephyr/bluetooth/bluetooth.h>
#include <zephyr/bluetooth/gap.h>
#include <zephyr/settings/settings.h>
#include <zephyr/bluetooth/uuid.h>
#include <zephyr/bluetooth/addr.h>
#include <zephyr/bluetooth/conn.h>

#include "app/led_ble_bridge.h"
#include "app/imu_ble_bridge.h"
#include "app/daughter_board_manager.h"
#include "app/power_ble_bridge.h"
#include "bluetooth/services/imu/imu_lbs.h"
#include "bluetooth/services/led/led_lbs.h"
#include "bluetooth/services/power/power_lbs.h"

#include "m95p.h"
#include "bq25180.h"
#include "bq27427.h"
#include "bhi360.h"

#if IS_ENABLED(CONFIG_SENSEWEAR_DAUGHTER_HAPTIC)
#include "app/haptic_ble_bridge.h"
#include "bluetooth/services/haptic/haptic_lbs.h"
#endif

#if IS_ENABLED(CONFIG_SENSEWEAR_DAUGHTER_PPG)
#include "app/ppg_ble_bridge.h"
#include "bluetooth/services/ppg/ppg_lbs.h"
#endif

#if IS_ENABLED(CONFIG_SENSEWEAR_DAUGHTER_TEMPERATURE)
#include "app/temperature_ble_bridge.h"
#include "bluetooth/services/temperature/temperature_lbs.h"
#endif

#if IS_ENABLED(CONFIG_SENSEWEAR_DAUGHTER_TOUCH)
#include "app/touch_ble_bridge.h"
#include "bluetooth/services/touch/touch_lbs.h"
#endif

static const struct bt_le_adv_param *adv_param = BT_LE_ADV_PARAM(
	(BT_LE_ADV_OPT_CONN |
	 BT_LE_ADV_OPT_USE_IDENTITY), /* Connectable advertising and use identity address */
	800, /* Min Advertising Interval 500ms (800*0.625ms) */
	801, /* Max Advertising Interval 500.625ms (801*0.625ms) */
	NULL); /* Set to NULL for undirected advertising */

LOG_MODULE_REGISTER(SENSE_WEAR_LOGGER);

#define DEVICE_NAME CONFIG_BT_DEVICE_NAME
#define DEVICE_NAME_LEN (sizeof(DEVICE_NAME) - 1)
#define BT_UUID_LBS_VAL BT_UUID_128_ENCODE(0x56966294, 0x9cb8, 0x4c92, 0x9d74, 0x834187f486de)

static void adv_restart_work_fn(struct k_work *work);
K_WORK_DELAYABLE_DEFINE(adv_restart_work, adv_restart_work_fn);

/* 1000 msec = 1 sec */
#define SLEEP_TIME_MS   100

static struct bt_conn *current_conn = NULL;

static const struct bt_data ad[] = {
	BT_DATA_BYTES(BT_DATA_FLAGS, (BT_LE_AD_GENERAL | BT_LE_AD_NO_BREDR)),
	BT_DATA(BT_DATA_NAME_COMPLETE, DEVICE_NAME, DEVICE_NAME_LEN),
};

static const struct bt_data sd[] = {
	BT_DATA_BYTES(BT_DATA_UUID128_ALL, BT_UUID_LBS_VAL),
};

static void adv_restart_work_fn(struct k_work *work)
{
    int err;

    /* If advertising might still be on for any reason, stop it first.
     * Ignore "not advertising" type errors.
     */
    err = bt_le_adv_stop();
    if (err && err != -EALREADY && err != -EINVAL) {
        LOG_WRN("bt_le_adv_stop returned %d", err);
    }

    err = bt_le_adv_start(adv_param, ad, ARRAY_SIZE(ad), sd, ARRAY_SIZE(sd));
    if (err) {
        LOG_ERR("Advertising restart failed (err %d)", err);
    } else {
        LOG_INF("Advertising restarted");
    }
}

void on_connected(struct bt_conn *conn, uint8_t err) {
    if (err) {
        LOG_INF("Connection error %d", err);
        return;
    }
    LOG_INF("Connected");
    current_conn = bt_conn_ref(conn);
	imu_lbs_set_conn(conn);
	led_lbs_set_conn(conn);
	power_lbs_set_conn(conn);
#if IS_ENABLED(CONFIG_SENSEWEAR_DAUGHTER_HAPTIC)
	haptic_lbs_set_conn(conn);
#endif
#if IS_ENABLED(CONFIG_SENSEWEAR_DAUGHTER_PPG)
	ppg_lbs_set_conn(conn);
#endif
#if IS_ENABLED(CONFIG_SENSEWEAR_DAUGHTER_TEMPERATURE)
	temperature_lbs_set_conn(conn);
#endif
#if IS_ENABLED(CONFIG_SENSEWEAR_DAUGHTER_TOUCH)
	touch_lbs_set_conn(conn);
#endif
}

void on_disconnected(struct bt_conn *conn, uint8_t reason)
{
    LOG_INF("Disconnected. Reason %u", reason);

    if (current_conn) {
        bt_conn_unref(current_conn);
        current_conn = NULL;
    }
	imu_lbs_clear_conn();
	led_lbs_clear_conn();
	power_lbs_clear_conn();
#if IS_ENABLED(CONFIG_SENSEWEAR_DAUGHTER_HAPTIC)
	haptic_lbs_clear_conn();
#endif
#if IS_ENABLED(CONFIG_SENSEWEAR_DAUGHTER_PPG)
	ppg_lbs_clear_conn();
#endif
#if IS_ENABLED(CONFIG_SENSEWEAR_DAUGHTER_TEMPERATURE)
	temperature_lbs_clear_conn();
#endif
#if IS_ENABLED(CONFIG_SENSEWEAR_DAUGHTER_TOUCH)
	touch_lbs_clear_conn();
#endif

	/* Defer restart briefly so the stack has time to finish disconnect cleanup. */
	k_work_schedule(&adv_restart_work, K_MSEC(1000));
}


struct bt_conn_cb connection_callbacks = {
    .connected              = on_connected,
    .disconnected           = on_disconnected,
};

int main(void)
{
	int err;

	err = bt_enable(NULL);
	if (err) {
		LOG_ERR("Bluetooth init failed (err %d)\n", err);
		return -1;
	}
	LOG_INF("Bluetooth initialized\n");

    if (IS_ENABLED(CONFIG_SETTINGS)) {
        err = settings_load();
        if (err) {
            LOG_ERR("Settings load failed (err %d)", err);
        }
    }
	bt_conn_cb_register(&connection_callbacks);
	err = bt_le_adv_start(adv_param, ad, ARRAY_SIZE(ad), sd, ARRAY_SIZE(sd));
	if (err) {
		LOG_ERR("Advertising failed to start (err %d)\n", err);
		return -1;
	}

	// static struct bq25180_config_t bq25180_config_val;
	// static union bq25180_charger_state_t bq25180_state;
	// bq25180_init();
	// bq25180_reset(NULL);
	// bq25180_get_default_lipo_usb_charger_config(&bq25180_config_val);
	// bq25180_config_val.battery_uvlo = bq25180_battery_UVLO_threshold_2V8;

	// bq25180_config(&bq25180_config_val);
	// bq25180_update_state(&bq25180_state);
	// bq25180_print_state();

	// // Initialize battery gauge
	// static struct bq27427_config_t bq27427_config_val;
	// bq27427_init();
	// bq27427_reset(NULL);
	// bq27427_get_default_config(&bq27427_config_val);
	// bq27427_config_val.battery_capacity = 450;
	// // bq27427_config_val.battery_type = bq27427_chemistry_Lipo4V35;
	// bq27427_config(&bq27427_config_val);
	// bq27427_update_state(NULL);
	// bq27427_print_state();

	// Initialize touch sensor
    // touch_sensor_init();

	// Initialize PPG sensor
	// ppg_sensor_init();

	// led_controller_init();
	// led_controller_configure();

	err = daughter_board_manager_init();
	if (err) {
		LOG_ERR("Daughter board manager init failed: %d", err);
	}

	led_ble_bridge_init();
    imu_ble_bridge_init();
	power_ble_bridge_init();
#if IS_ENABLED(CONFIG_SENSEWEAR_DAUGHTER_TEMPERATURE)
	temperature_ble_bridge_init();
#endif
#if IS_ENABLED(CONFIG_SENSEWEAR_DAUGHTER_PPG)
	ppg_ble_bridge_init();
#endif
#if IS_ENABLED(CONFIG_SENSEWEAR_DAUGHTER_TOUCH)
	touch_ble_bridge_init();
#endif
#if IS_ENABLED(CONFIG_SENSEWEAR_DAUGHTER_HAPTIC)
	haptic_ble_bridge_init();
#endif


	m95p_init(NULL);

	while (1) {
		k_sleep(K_FOREVER);
	}

	return 0;
}
```
